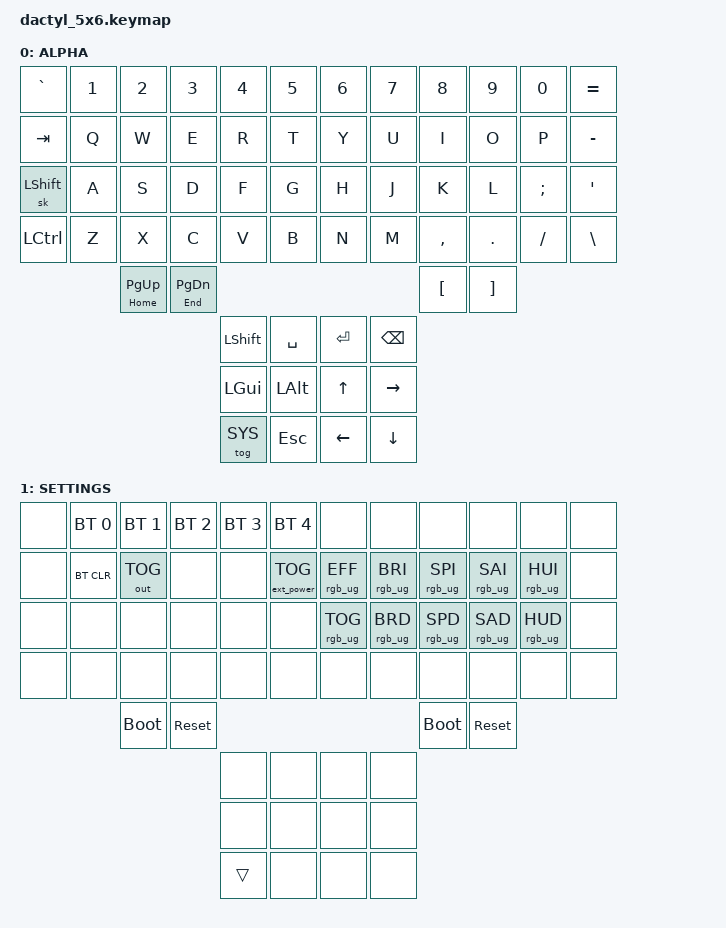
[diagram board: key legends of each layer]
#include <behaviors.dtsi>
#include <dt-bindings/zmk/bt.h>
#include <dt-bindings/zmk/ext_power.h>
#include <dt-bindings/zmk/keys.h>
#include <dt-bindings/zmk/outputs.h>
#include <dt-bindings/zmk/rgb.h>

#define DEFAULT 0
#define SYS 1

/*
 * Assign the cs-gpios pin to 4.
 * Uncomment these next few lines if implementing nice!view Displays
 * This overwritse the CS pin s.t. RGB can use pin D1
 */

nice_view_spi: &spi0 { cs-gpios = <&pro_micro 4 GPIO_ACTIVE_HIGH>; };

// /* https://zmk.dev/docs/behaviors/sticky-layer */
// &sl {
//     release-after-ms = <1000>;
// };
// /* https://zmk.dev/docs/behaviors/hold-tap */
// &mt {
//     tapping-term-ms = <201>;
//     flavor = "tap-preferred";
// };
// /* https://zmk.dev/docs/behaviors/sticky-key */
// &sk {
//     release-after-ms = <2000>;
//     quick-release;
// };
// Overwride default overlay LED Strip length here

&led_strip { chain-length = <32>; };

/ {
    // Activate ADJUST layer by pressing raise and lower
    // conditional_layers { compatible = "zmk,conditional-layers"; };
    // combos {
    //     compatible = "zmk,combos";
    // };
    // behaviors {
    //     hl_l: homerow_layers_left {
    //         compatible = "zmk,behavior-hold-tap";
    //         label = "HOMEROW_LAYERS_L";
    //         #binding-cells = <2>;
    //         tapping-term-ms = <220>;
    //         quick-tap-ms = <250>;
    //         flavor = "tap-preferred";
    //         bindings = <&mo>, <&kp>;
    //     };
    //     hl_r: homerow_layers_right {
    //         compatible = "zmk,behavior-hold-tap";
    //         label = "HOMEROW_LAYERS_R";
    //         #binding-cells = <2>;
    //         tapping-term-ms = <220>;
    //         quick-tap-ms = <250>;
    //         flavor = "tap-preferred";
    //         bindings = <&mo>, <&kp>;
    //     };
    //     td: tapdance {
    //         compatible = "zmk,behavior-hold-tap";
    //         label = "TAPDANCE";
    //         #binding-cells = <2>;
    //         tapping-term-ms = <190>;
    //         quick-tap-ms = <250>;
    //         flavor = "tap-preferred";
    //         bindings = <&kp>, <&kp>;
    //     };
    // };

    behaviors {
        hold_caps_word: hold_caps_word {
            compatible = "zmk,behavior-hold-tap";
            #binding-cells = <2>;
            flavor = "tap-preferred";
            tapping-term-ms = <300>;
            quick-tap-ms = <0>;
            bindings = <&caps_word>, <&kp>;
        };

        // For using with medium use keys on hold
        // hold-tap-balanced-medium
        htbm: hold_tap_balanced_med {
            compatible = "zmk,behavior-hold-tap";
            #binding-cells = <2>;
            flavor = "balanced";
            tapping-term-ms = <200>;
            quick-tap-ms = <0>;
            bindings = <&kp>, <&kp>;
        };
    };

    keymap {
        compatible = "zmk,keymap";

        default_layer {
            label = "ALPHA"; // Adds label to display
            bindings = <
&kp GRAVE            &kp NUMBER_1  &kp NUMBER_2   &kp NUMBER_3    &kp NUMBER_4  &kp NUMBER_5  &kp NUMBER_6  &kp NUMBER_7  &kp NUMBER_8  &kp NUMBER_9  &kp NUMBER_0  &kp EQUAL
&kp TAB                  &kp Q            &kp W             &kp E              &kp R            &kp T            &kp Y            &kp U            &kp I            &kp O            &kp P             &kp MINUS
&sk LSHFT                &kp A            &kp S             &kp D              &kp F            &kp G            &kp H            &kp J            &kp K            &kp L            &kp SEMI          &kp SQT
&kp LCTRL                &kp Z            &kp X             &kp C              &kp V            &kp B            &kp N            &kp M            &kp COMMA        &kp DOT          &kp FSLH          &kp BSLH
                                          &htbm HOME PAGE_UP  &htbm END PAGE_DOWN                                                                      &kp LBKT         &kp RBKT
                                                                               &kp LSHFT        &kp SPACE        &kp RET          &kp BSPC
                                                                               &kp LGUI         &kp LALT         &kp UP_ARROW     &kp RIGHT_ARROW
                                                                               &tog SYS         &kp ESC          &kp LEFT_ARROW   &kp DOWN_ARROW
            >;
        };

        settings_layer {
            label = "SETTINGS"; // Adds label to display
            bindings = <
&none  &bt BT_SEL 0  &bt BT_SEL 1  &bt BT_SEL 2  &bt BT_SEL 3  &bt BT_SEL 4       &none            &none            &none            &none            &none            &none
&none  &bt BT_CLR    &out OUT_TOG  &none         &none         &ext_power EP_TOG  &rgb_ug RGB_EFF  &rgb_ug RGB_BRI  &rgb_ug RGB_SPI  &rgb_ug RGB_SAI  &rgb_ug RGB_HUI  &none
&none  &none         &none         &none         &none         &none              &rgb_ug RGB_TOG  &rgb_ug RGB_BRD  &rgb_ug RGB_SPD  &rgb_ug RGB_SAD  &rgb_ug RGB_HUD  &none
&none  &none         &none         &none         &none         &none              &none            &none            &none            &none            &none            &none
                     &bootloader   &sys_reset                                                                       &bootloader      &sys_reset
                                                 &none         &none              &none            &none
                                                 &none         &none              &none            &none
                                                 &trans        &none              &none            &none
            >;
        };
    };
};
